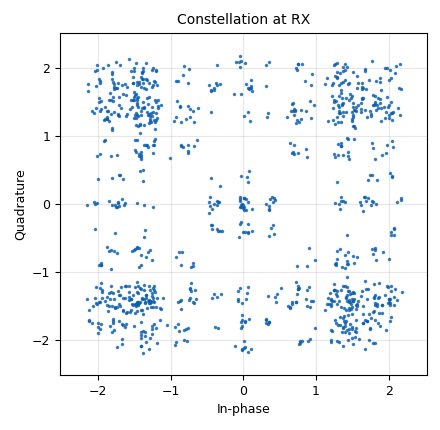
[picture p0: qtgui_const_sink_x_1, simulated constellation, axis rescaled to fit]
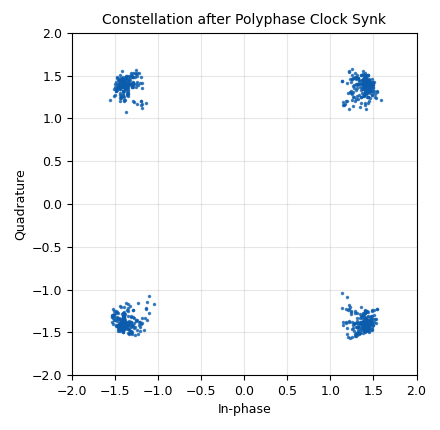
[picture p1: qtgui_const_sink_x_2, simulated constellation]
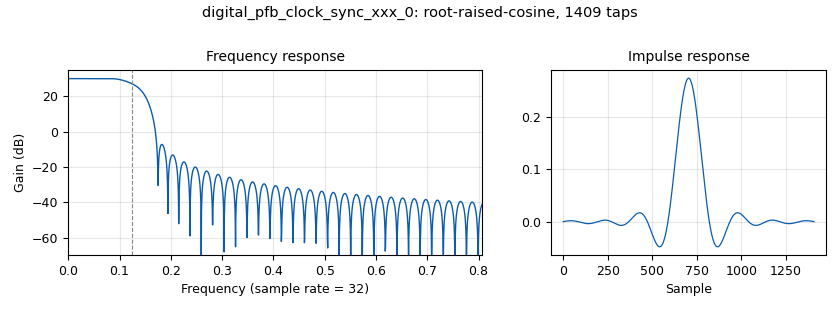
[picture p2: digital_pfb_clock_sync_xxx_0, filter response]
options:
  parameters:
    generate_options: qt_gui
    id: polyphase_clock_synchronization
    output_language: python
    title: Not titled yet
  states: {}

blocks:
- name: filter_size
  id: variable
  parameters:
    value: '32'
  states: {}
- name: freq_offset
  id: variable_qtgui_range
  parameters:
    label: Frequency Offset
    start: '-0.1'
    step: '0.001'
    stop: '0.1'
    value: '0'
  states: {}
- name: noise
  id: variable_qtgui_range
  parameters:
    label: Channel Noise
    start: '0'
    step: '0.01'
    stop: '1'
    value: '0'
  states: {}
- name: rrc_taps
  id: variable
  parameters:
    value: firdes.root_raised_cosine(filter_size,filter_size, 1.0/float(sps), 0.35, 11*sps*filter_size)
  states: {}
- name: samp_rate
  id: variable
  parameters:
    value: '32000'
  states: {}
- name: sps
  id: variable
  parameters:
    value: '4'
  states: {}
- name: taps
  id: variable
  parameters:
    value: '[1.0, 0.25-0.25j, 0.5+0.1j, -0.3+0.2j, 0.1-0.01j, -0.2+0.2j]'
  states: {}
- name: taps1
  id: variable
  parameters:
    value: '[1.0 + 0.0j]'
  states: {}
- name: time_offset
  id: variable_qtgui_range
  parameters:
    label: Time Offset
    start: '0.999'
    step: '0.0001'
    stop: '1.001'
    value: '1'
  states: {}
- name: timing_loop_BW
  id: variable_qtgui_range
  parameters:
    label: Time BW
    start: '0'
    step: '0.005'
    stop: '0.2'
    value: 6.28/100.0
  states: {}
- name: variable_constellation_0
  id: variable_constellation
  parameters:
    precision: '8'
    type: qpsk
  states: {}
- name: analog_random_source_x_0
  id: analog_random_source_x
  parameters:
    max: '256'
    min: '0'
    num_samps: '1000'
    repeat: 'True'
    type: byte
  states: {}
- name: blocks_throttle2_0
  id: blocks_throttle2
  parameters:
    samples_per_second: samp_rate
    type: complex
  states: {}
- name: channels_channel_model_0
  id: channels_channel_model
  parameters:
    epsilon: time_offset
    freq_offset: freq_offset
    noise_voltage: noise
    seed: '0'
    taps: taps1
  states: {}
- name: digital_constellation_modulator_0
  id: digital_constellation_modulator
  parameters:
    constellation: variable_constellation_0
    differential: 'False'
    excess_bw: '0.35'
    samples_per_symbol: sps
  states: {}
- name: digital_pfb_clock_sync_xxx_0
  id: digital_pfb_clock_sync_xxx
  parameters:
    filter_size: filter_size
    init_phase: filter_size/2
    loop_bw: timing_loop_BW
    max_dev: '1.5'
    osps: '1'
    sps: sps
    taps: rrc_taps
    type: ccf
  states: {}
- name: qtgui_const_sink_x_1
  id: qtgui_const_sink_x
  parameters:
    name: '"Constellation at RX"'
    size: '1024'
    type: complex
  states: {}
- name: qtgui_const_sink_x_2
  id: qtgui_const_sink_x
  parameters:
    name: '"Constellation after Polyphase Clock Synk"'
    size: '1024'
    type: complex
  states: {}

connections:
- [analog_random_source_x_0, '0', digital_constellation_modulator_0, '0']
- [blocks_throttle2_0, '0', channels_channel_model_0, '0']
- [channels_channel_model_0, '0', digital_pfb_clock_sync_xxx_0, '0']
- [channels_channel_model_0, '0', qtgui_const_sink_x_1, '0']
- [digital_constellation_modulator_0, '0', blocks_throttle2_0, '0']
- [digital_pfb_clock_sync_xxx_0, '0', qtgui_const_sink_x_2, '0']

metadata:
  file_format: 1
  grc_version: 3.10.7.0
